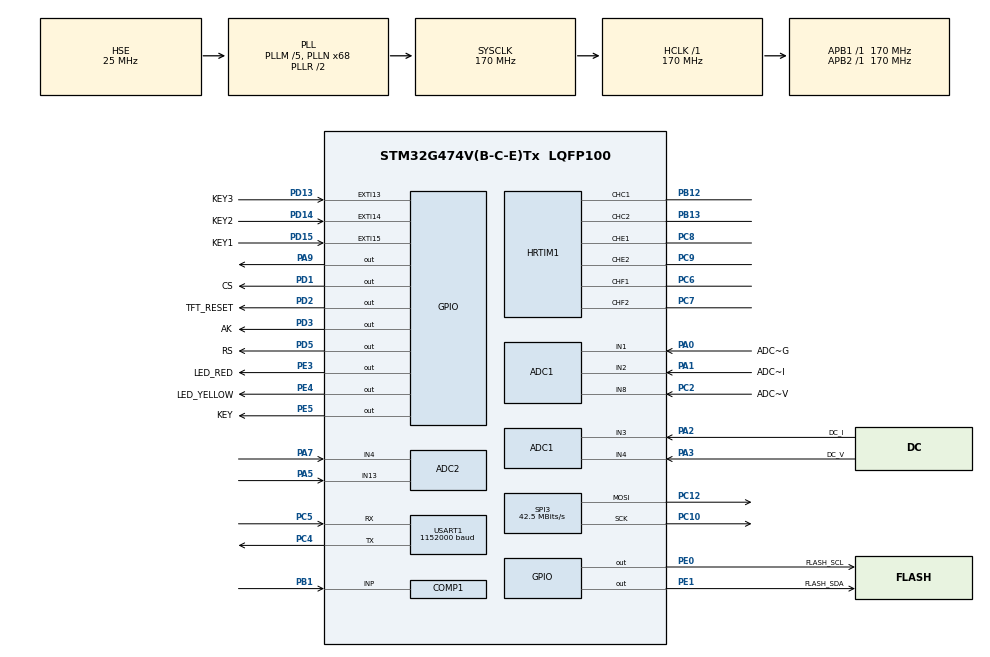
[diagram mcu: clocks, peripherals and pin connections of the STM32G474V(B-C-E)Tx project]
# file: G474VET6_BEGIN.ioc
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ADC1.Channel-0\#ChannelRegularConversion=ADC_CHANNEL_1
ADC1.Channel-1\#ChannelRegularConversion=ADC_CHANNEL_2
ADC1.Channel-2\#ChannelRegularConversion=ADC_CHANNEL_3
ADC1.Channel-3\#ChannelRegularConversion=ADC_CHANNEL_4
ADC1.Channel-4\#ChannelRegularConversion=ADC_CHANNEL_8
ADC1.ContinuousConvMode=ENABLE
ADC1.DMAContinuousRequests=ENABLE
ADC1.NbrOfConversion=5
ADC1.NbrOfConversionFlag=1
ADC1.OffsetNumber-0\#ChannelRegularConversion=ADC_OFFSET_NONE
ADC1.OffsetNumber-1\#ChannelRegularConversion=ADC_OFFSET_NONE
ADC1.OffsetNumber-2\#ChannelRegularConversion=ADC_OFFSET_NONE
ADC1.OffsetNumber-3\#ChannelRegularConversion=ADC_OFFSET_NONE
ADC1.OffsetNumber-4\#ChannelRegularConversion=ADC_OFFSET_NONE
ADC1.Overrun=ADC_OVR_DATA_OVERWRITTEN
ADC1.Rank-0\#ChannelRegularConversion=1
ADC1.Rank-1\#ChannelRegularConversion=2
ADC1.Rank-2\#ChannelRegularConversion=3
ADC1.Rank-3\#ChannelRegularConversion=4
ADC1.Rank-4\#ChannelRegularConversion=5
ADC1.SamplingTime-0\#ChannelRegularConversion=ADC_SAMPLETIME_92CYCLES_5
ADC1.SamplingTime-1\#ChannelRegularConversion=ADC_SAMPLETIME_92CYCLES_5
ADC1.SamplingTime-2\#ChannelRegularConversion=ADC_SAMPLETIME_92CYCLES_5
ADC1.SamplingTime-3\#ChannelRegularConversion=ADC_SAMPLETIME_92CYCLES_5
ADC1.SamplingTime-4\#ChannelRegularConversion=ADC_SAMPLETIME_92CYCLES_5
ADC1.master=1
ADC2.Channel-0\#ChannelRegularConversion=ADC_CHANNEL_4
ADC2.Channel-1\#ChannelRegularConversion=ADC_CHANNEL_13
ADC2.ContinuousConvMode=ENABLE
ADC2.DMAContinuousRequests=ENABLE
ADC2.NbrOfConversion=2
ADC2.NbrOfConversionFlag=1
ADC2.OffsetNumber-0\#ChannelRegularConversion=ADC_OFFSET_NONE
ADC2.OffsetNumber-1\#ChannelRegularConversion=ADC_OFFSET_NONE
ADC2.Overrun=ADC_OVR_DATA_OVERWRITTEN
ADC2.Rank-0\#ChannelRegularConversion=1
ADC2.Rank-1\#ChannelRegularConversion=2
ADC2.SamplingTime-0\#ChannelRegularConversion=ADC_SAMPLETIME_92CYCLES_5
ADC2.SamplingTime-1\#ChannelRegularConversion=ADC_SAMPLETIME_92CYCLES_5
COMP2.InvertingInput=COMP_INPUT_MINUS_VREFINT
Dma.ADC1.0.Direction=DMA_PERIPH_TO_MEMORY
Dma.ADC1.0.EventEnable=DISABLE
Dma.ADC1.0.Instance=DMA1_Channel1
Dma.ADC1.0.MemDataAlignment=DMA_MDATAALIGN_HALFWORD
Dma.ADC1.0.MemInc=DMA_MINC_ENABLE
Dma.ADC1.0.Mode=DMA_CIRCULAR
Dma.ADC1.0.PeriphDataAlignment=DMA_PDATAALIGN_HALFWORD
Dma.ADC1.0.PeriphInc=DMA_PINC_DISABLE
Dma.ADC1.0.Polarity=HAL_DMAMUX_REQ_GEN_RISING
Dma.ADC1.0.Priority=DMA_PRIORITY_LOW
Dma.ADC1.0.RequestNumber=1
Dma.ADC1.0.SignalID=NONE
Dma.ADC1.0.SyncEnable=DISABLE
Dma.ADC1.0.SyncPolarity=HAL_DMAMUX_SYNC_NO_EVENT
Dma.ADC1.0.SyncRequestNumber=1
Dma.ADC1.0.SyncSignalID=NONE
Dma.ADC2.2.Direction=DMA_PERIPH_TO_MEMORY
Dma.ADC2.2.EventEnable=DISABLE
Dma.ADC2.2.Instance=DMA1_Channel3
Dma.ADC2.2.MemDataAlignment=DMA_MDATAALIGN_HALFWORD
Dma.ADC2.2.MemInc=DMA_MINC_ENABLE
Dma.ADC2.2.Mode=DMA_CIRCULAR
Dma.ADC2.2.PeriphDataAlignment=DMA_PDATAALIGN_HALFWORD
Dma.ADC2.2.PeriphInc=DMA_PINC_DISABLE
Dma.ADC2.2.Polarity=HAL_DMAMUX_REQ_GEN_RISING
Dma.ADC2.2.Priority=DMA_PRIORITY_LOW
Dma.ADC2.2.RequestNumber=1
Dma.ADC2.2.SignalID=NONE
Dma.ADC2.2.SyncEnable=DISABLE
Dma.ADC2.2.SyncPolarity=HAL_DMAMUX_SYNC_NO_EVENT
Dma.ADC2.2.SyncRequestNumber=1
Dma.ADC2.2.SyncSignalID=NONE
Dma.CORDIC_READ.3.Direction=DMA_PERIPH_TO_MEMORY
Dma.CORDIC_READ.3.EventEnable=DISABLE
Dma.CORDIC_READ.3.Instance=DMA1_Channel4
Dma.CORDIC_READ.3.MemDataAlignment=DMA_MDATAALIGN_WORD
Dma.CORDIC_READ.3.MemInc=DMA_MINC_ENABLE
Dma.CORDIC_READ.3.Mode=DMA_CIRCULAR
Dma.CORDIC_READ.3.PeriphDataAlignment=DMA_PDATAALIGN_WORD
Dma.CORDIC_READ.3.PeriphInc=DMA_PINC_DISABLE
Dma.CORDIC_READ.3.Polarity=HAL_DMAMUX_REQ_GEN_RISING
Dma.CORDIC_READ.3.Priority=DMA_PRIORITY_LOW
Dma.CORDIC_READ.3.RequestNumber=1
Dma.CORDIC_READ.3.SignalID=NONE
Dma.CORDIC_READ.3.SyncEnable=DISABLE
Dma.CORDIC_READ.3.SyncPolarity=HAL_DMAMUX_SYNC_NO_EVENT
Dma.CORDIC_READ.3.SyncRequestNumber=1
Dma.CORDIC_READ.3.SyncSignalID=NONE
Dma.CORDIC_WRITE.4.Direction=DMA_MEMORY_TO_PERIPH
Dma.CORDIC_WRITE.4.EventEnable=DISABLE
Dma.CORDIC_WRITE.4.Instance=DMA1_Channel5
Dma.CORDIC_WRITE.4.MemDataAlignment=DMA_MDATAALIGN_WORD
Dma.CORDIC_WRITE.4.MemInc=DMA_MINC_ENABLE
Dma.CORDIC_WRITE.4.Mode=DMA_CIRCULAR
Dma.CORDIC_WRITE.4.PeriphDataAlignment=DMA_PDATAALIGN_WORD
Dma.CORDIC_WRITE.4.PeriphInc=DMA_PINC_DISABLE
Dma.CORDIC_WRITE.4.Polarity=HAL_DMAMUX_REQ_GEN_RISING
Dma.CORDIC_WRITE.4.Priority=DMA_PRIORITY_LOW
Dma.CORDIC_WRITE.4.RequestNumber=1
Dma.CORDIC_WRITE.4.SignalID=NONE
Dma.CORDIC_WRITE.4.SyncEnable=DISABLE
Dma.CORDIC_WRITE.4.SyncPolarity=HAL_DMAMUX_SYNC_NO_EVENT
Dma.CORDIC_WRITE.4.SyncRequestNumber=1
Dma.CORDIC_WRITE.4.SyncSignalID=NONE
Dma.Request0=ADC1
Dma.Request1=SPI3_TX
Dma.Request2=ADC2
Dma.Request3=CORDIC_READ
Dma.Request4=CORDIC_WRITE
Dma.SPI3_TX.1.Direction=DMA_MEMORY_TO_PERIPH
Dma.SPI3_TX.1.EventEnable=DISABLE
Dma.SPI3_TX.1.Instance=DMA1_Channel2
Dma.SPI3_TX.1.MemDataAlignment=DMA_MDATAALIGN_BYTE
Dma.SPI3_TX.1.MemInc=DMA_MINC_ENABLE
Dma.SPI3_TX.1.Mode=DMA_NORMAL
Dma.SPI3_TX.1.PeriphDataAlignment=DMA_PDATAALIGN_BYTE
Dma.SPI3_TX.1.PeriphInc=DMA_PINC_DISABLE
Dma.SPI3_TX.1.Polarity=HAL_DMAMUX_REQ_GEN_RISING
Dma.SPI3_TX.1.Priority=DMA_PRIORITY_LOW
Dma.SPI3_TX.1.RequestNumber=1
Dma.SPI3_TX.1.SignalID=NONE
Dma.SPI3_TX.1.SyncEnable=DISABLE
Dma.SPI3_TX.1.SyncPolarity=HAL_DMAMUX_SYNC_NO_EVENT
Dma.SPI3_TX.1.SyncRequestNumber=1
Dma.SPI3_TX.1.SyncSignalID=NONE
HRTIM1.CompareUnit1-Output_TC1TC2=HRTIM_COMPAREUNIT_1
HRTIM1.CompareUnit1-Output_TE1TE2=HRTIM_COMPAREUNIT_1
HRTIM1.CompareUnit1-Output_TF1TF2=HRTIM_COMPAREUNIT_1
HRTIM1.CompareValue1-Output_TC1TC2=17000
HRTIM1.CompareValue1-Output_TE1TE2=17000
HRTIM1.CompareValue1-Output_TF1TF2=17000
HRTIM1.DACSynchro-Output_TC1TC2=HRTIM_DACSYNC_NONE
HRTIM1.DeadTimeInsertion-Output_TC1TC2=HRTIM_TIMDEADTIMEINSERTION_ENABLED
HRTIM1.DeadTimeInsertion-Output_TE1TE2=HRTIM_TIMDEADTIMEINSERTION_ENABLED
HRTIM1.DeadTimeInsertion-Output_TF1TF2=HRTIM_TIMDEADTIMEINSERTION_ENABLED
HRTIM1.FallingValue-Output_TC1TC2=5
HRTIM1.FallingValue-Output_TE1TE2=5
HRTIM1.FallingValue-Output_TF1TF2=5
HRTIM1.GreaterCMP1_TC=HRTIM_TIMERGTCMP1_EQUAL
HRTIM1.NumberResetSource1-Output_TC1TC2=1
HRTIM1.NumberResetSource1-Output_TE1TE2=1
HRTIM1.NumberResetSource1-Output_TF1TF2=1
HRTIM1.NumberSetSource1-Output_TC1TC2=1
HRTIM1.NumberSetSource1-Output_TE1TE2=1
HRTIM1.NumberSetSource1-Output_TF1TF2=1
HRTIM1.Periode_TC=34000
HRTIM1.Periode_TE=34000
HRTIM1.Periode_TF=34000
HRTIM1.Polarity1-Output_TF1TF2=HRTIM_OUTPUTPOLARITY_LOW
HRTIM1.Polarity2-Output_TF1TF2=HRTIM_OUTPUTPOLARITY_LOW
HRTIM1.PreloadEnable-Output_TC1TC2=HRTIM_PRELOAD_ENABLED
HRTIM1.PreloadEnable-Output_TE1TE2=HRTIM_PRELOAD_ENABLED
HRTIM1.PreloadEnable-Output_TF1TF2=HRTIM_PRELOAD_ENABLED
HRTIM1.PrescalerRatio_TC=HRTIM_PRESCALERRATIO_MUL2
HRTIM1.PrescalerRatio_TE=HRTIM_PRESCALERRATIO_MUL4
HRTIM1.PrescalerRatio_TF=HRTIM_PRESCALERRATIO_MUL4
HRTIM1.RepetitionUpdate-Output_TC1TC2=HRTIM_UPDATEONREPETITION_ENABLED
HRTIM1.RepetitionUpdate-Output_TE1TE2=HRTIM_UPDATEONREPETITION_ENABLED
HRTIM1.RepetitionUpdate-Output_TF1TF2=HRTIM_UPDATEONREPETITION_ENABLED
HRTIM1.ResetOutput1_Source1-Output_TC1TC2=HRTIM_OUTPUTRESET_TIMCMP1
HRTIM1.ResetOutput1_Source1-Output_TE1TE2=HRTIM_OUTPUTRESET_TIMCMP1
HRTIM1.ResetOutput1_Source1-Output_TF1TF2=HRTIM_OUTPUTRESET_TIMCMP1
HRTIM1.RisingValue-Output_TC1TC2=50
HRTIM1.RisingValue-Output_TE1TE2=50
HRTIM1.RisingValue-Output_TF1TF2=50
HRTIM1.SetOutput1_Source1-Output_TC1TC2=HRTIM_OUTPUTSET_TIMPER
HRTIM1.SetOutput1_Source1-Output_TE1TE2=HRTIM_OUTPUTSET_TIMPER
HRTIM1.SetOutput1_Source1-Output_TF1TF2=HRTIM_OUTPUTSET_TIMPER
Mcu.Family=STM32G4
Mcu.Name=STM32G474V(B-C-E)Tx
Mcu.Package=LQFP100
NVIC.DMA1_Channel1_IRQn=true\:0\:0\:false\:false\:true\:false\:true\:true
NVIC.DMA1_Channel2_IRQn=true\:2\:0\:true\:false\:true\:false\:true\:true
NVIC.DMA1_Channel3_IRQn=true\:0\:0\:false\:false\:true\:false\:true\:true
NVIC.DMA1_Channel4_IRQn=true\:0\:0\:false\:false\:true\:false\:true\:true
NVIC.DMA1_Channel5_IRQn=true\:0\:0\:false\:false\:true\:false\:true\:true
NVIC.EXTI15_10_IRQn=true\:2\:0\:true\:false\:true\:true\:true\:true
NVIC.PriorityGroup=NVIC_PRIORITYGROUP_2
NVIC.SPI3_IRQn=true\:2\:1\:true\:false\:true\:true\:true\:true
NVIC.TIM6_DAC_IRQn=true\:0\:1\:true\:false\:true\:true\:true\:true
NVIC.TIM7_DAC_IRQn=true\:1\:0\:true\:false\:true\:true\:true\:true
PA0.GPIO_Label=ADC~G
PA0.Mode=IN1-Single-Ended
PA0.Signal=ADC1_IN1
PA1.GPIO_Label=ADC~I
PA1.Mode=IN2-Single-Ended
PA1.Signal=ADC1_IN2
PA13.Mode=Serial_Wire
PA13.Signal=SYS_JTMS-SWDIO
PA14.Mode=Serial_Wire
PA14.Signal=SYS_JTCK-SWCLK
PA2.GPIO_Label=DC_I
PA2.Mode=IN3-Single-Ended
PA2.Signal=ADC1_IN3
PA3.GPIO_Label=DC_V
PA3.Mode=IN4-Single-Ended
PA3.Signal=ADC1_IN4
PA5.Signal=SharedAnalog_PA5
PA7.Signal=SharedAnalog_PA7
PA9.Signal=GPIO_Output
PB1.Mode=INP
PB1.Signal=COMP1_INP
PB12.Mode=Output_TC1TC2
PB12.Signal=HRTIM1_CHC1
PB13.Mode=Output_TC1TC2
PB13.Signal=HRTIM1_CHC2
PC10.GPIO_Speed=GPIO_SPEED_FREQ_VERY_HIGH
PC10.Mode=TX_Only_Simplex_Unidirect_Master
PC10.Signal=SPI3_SCK
PC12.GPIO_Speed=GPIO_SPEED_FREQ_VERY_HIGH
PC12.Mode=TX_Only_Simplex_Unidirect_Master
PC12.Signal=SPI3_MOSI
PC2.GPIO_Label=ADC~V
PC2.Mode=IN8-Single-Ended
PC2.Signal=ADC1_IN8
PC4.Mode=Asynchronous
PC4.Signal=USART1_TX
PC5.Mode=Asynchronous
PC5.Signal=USART1_RX
PC6.Mode=Output_TF1TF2
PC6.Signal=HRTIM1_CHF1
PC7.Mode=Output_TF1TF2
PC7.Signal=HRTIM1_CHF2
PC8.Mode=Output_TE1TE2
PC8.Signal=HRTIM1_CHE1
PC9.Mode=Output_TE1TE2
PC9.Signal=HRTIM1_CHE2
PD1.GPIO_Label=CS
PD1.GPIO_Speed=GPIO_SPEED_FREQ_VERY_HIGH
PD1.Signal=GPIO_Output
PD13.GPIO_Label=KEY3
PD13.GPIO_ModeDefaultEXTI=GPIO_MODE_IT_FALLING
PD13.GPIO_PuPd=GPIO_NOPULL
PD13.Signal=GPXTI13
PD14.GPIO_Label=KEY2
PD14.GPIO_ModeDefaultEXTI=GPIO_MODE_IT_FALLING
PD14.GPIO_PuPd=GPIO_NOPULL
PD14.Signal=GPXTI14
PD15.GPIO_Label=KEY1
PD15.GPIO_ModeDefaultEXTI=GPIO_MODE_IT_FALLING
PD15.GPIO_PuPd=GPIO_NOPULL
PD15.Signal=GPXTI15
PD2.GPIO_Label=TFT_RESET
PD2.GPIO_Speed=GPIO_SPEED_FREQ_VERY_HIGH
PD2.Signal=GPIO_Output
PD3.GPIO_Label=AK
PD3.GPIO_Speed=GPIO_SPEED_FREQ_VERY_HIGH
PD3.Signal=GPIO_Output
PD5.GPIO_Label=RS
PD5.GPIO_Speed=GPIO_SPEED_FREQ_VERY_HIGH
PD5.Signal=GPIO_Output
PE0.GPIO_Label=FLASH_SCL
PE0.GPIO_ModeDefaultOutputPP=GPIO_MODE_OUTPUT_OD
PE0.GPIO_PuPd=GPIO_PULLUP
PE0.GPIO_Speed=GPIO_SPEED_FREQ_HIGH
PE0.PinState=GPIO_PIN_SET
PE0.Signal=GPIO_Output
PE1.GPIO_Label=FLASH_SDA
PE1.GPIO_ModeDefaultOutputPP=GPIO_MODE_OUTPUT_OD
PE1.GPIO_PuPd=GPIO_PULLUP
PE1.GPIO_Speed=GPIO_SPEED_FREQ_HIGH
PE1.PinState=GPIO_PIN_SET
PE1.Signal=GPIO_Output
PE3.GPIO_Label=LED_RED
PE3.PinState=GPIO_PIN_SET
PE3.Signal=GPIO_Output
PE4.GPIO_Label=LED_YELLOW
PE4.PinState=GPIO_PIN_SET
PE4.Signal=GPIO_Output
PE5.GPIO_Label=KEY
PE5.PinState=GPIO_PIN_RESET
PE5.Signal=GPIO_Output
PF0-OSC_IN.Mode=HSE-External-Oscillator
PF0-OSC_IN.Signal=RCC_OSC_IN
PF1-OSC_OUT.Mode=HSE-External-Oscillator
PF1-OSC_OUT.Signal=RCC_OSC_OUT
ProjectManager.HeapSize=0x200
ProjectManager.StackSize=0x400
ProjectManager.TargetToolchain=MDK-ARM V5
RCC.ADC12Freq_Value=170000000
RCC.ADC345Freq_Value=170000000
RCC.AHBFreq_Value=170000000
RCC.APB1Freq_Value=170000000
RCC.APB1TimFreq_Value=170000000
RCC.APB2Freq_Value=170000000
RCC.APB2TimFreq_Value=170000000
RCC.CortexFreq_Value=170000000
RCC.EXTERNAL_CLOCK_VALUE=12288000
RCC.HCLKFreq_Value=170000000
RCC.HSE_VALUE=25000000
RCC.HSI48_VALUE=48000000
RCC.HSI_VALUE=16000000
RCC.LSE_VALUE=32768
RCC.PLLM=RCC_PLLM_DIV5
RCC.PLLN=68
RCC.PLLSourceVirtual=RCC_PLLSOURCE_HSE
RCC.SYSCLKFreq_VALUE=170000000
RCC.SYSCLKSource=RCC_SYSCLKSOURCE_PLLCLK
RCC.USBFreq_Value=170000000
RCC.VCOOutputFreq_Value=340000000
SH.SharedAnalog_PA5.0=ADC2_IN13,IN13-Single-Ended
SH.SharedAnalog_PA5.1=COMP2_INM
SH.SharedAnalog_PA7.0=ADC2_IN4,IN4-Single-Ended
SH.SharedAnalog_PA7.1=COMP2_INP,INP
SPI3.BaudRatePrescaler=SPI_BAUDRATEPRESCALER_4
SPI3.CalculateBaudRate=42.5 MBits/s
SPI3.DataSize=SPI_DATASIZE_8BIT
SPI3.Direction=SPI_DIRECTION_2LINES
SPI3.FirstBit=SPI_FIRSTBIT_MSB
SPI3.Mode=SPI_MODE_MASTER
SPI3.VirtualType=VM_MASTER
STMicroelectronics.X-CUBE-ALGOBUILD.1.4.0.LibraryCcDSPOoLibraryJjDSPOoLibrary=true
TIM6.AutoReloadPreload=TIM_AUTORELOAD_PRELOAD_ENABLE
TIM6.PeriodNoDither=199
TIM6.Prescaler=169
TIM7.AutoReloadPreload=TIM_AUTORELOAD_PRELOAD_ENABLE
TIM7.PeriodNoDither=99
TIM7.Prescaler=169
USART1.BaudRate=1152000
USART1.VirtualMode-Asynchronous=VM_ASYNC
VP_COMP1_VS_VREFINT.Mode=VREFINT
VP_COMP2_VS_VREFINT.Mode=VREFINT
VP_CORDIC_VS_CORDIC.Mode=CORDIC_Activate
VP_STMicroelectronics.X-CUBE-ALGOBUILD_VS_DSPOoLibraryJjLibrary_1.4.0_1.4.0.Mode=DSPOoLibraryJjLibrary
VP_SYS_VS_DBSignals.Mode=DisableDeadBatterySignals
VP_TIM6_VS_ClockSourceINT.Mode=Enable_Timer
VP_TIM7_VS_ClockSourceINT.Mode=Enable_Timer
board=custom

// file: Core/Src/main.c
/* USER CODE BEGIN Header */
/**
  ******************************************************************************
  * @file           : main.c
  * @brief          : Main program body
	* @version				: 1.2
  ******************************************************************************
  * @attention
  *
  * Copyright (c) 2025 STMicroelectronics.
  * All rights reserved.
  *
  * This software is licensed under terms that can be found in the LICENSE file
  * in the root directory of this software component.
  * If no LICENSE file comes with this software, it is provided AS-IS.
  *
  ******************************************************************************
  */
/* USER CODE END Header */
#include "main.h"
#include "adc.h"
#include "comp.h"
#include "cordic.h"
#include "dma.h"
#include "hrtim.h"
#include "spi.h"
#include "tim.h"
#include "usart.h"
#include "gpio.h"

/* USER CODE BEGIN Includes */
#include "LCD.h"
#include "UART.h"
#include "Mymain.h"
#include "lvgl.h"
#include "lv_port_disp.h"
#include "lv_port_indev.h"

#include "gui_guider.h"
#include "events_init.h"

/* USER CODE END Includes */

/* USER CODE BEGIN PTD */
int8_t button_pressed_id = -1; // 记录被按下的按键ID

lv_ui guider_ui;

/* USER CODE END PTD */

/* USER CODE BEGIN PV */
uint16_t AD_Buf[5];
uint16_t AD_Mppt[2];

//Program_State_Flag Program={Mode_PV_Grid,State_Standby,Flag_Run_};
uint16_t AD_Buf[5];
uint16_t AD_Mppt[2];

//Program_State_Flag Program={Mode_PV_Grid,State_Standby,Flag_Run_};
Program_State_Flag Program={Mode_PV_Grid,State_Standby,Flag_Standby};

pid_typedef pid_dc_V;
pid_typedef pid_value_V;
pid_typedef pid_value_I;
pid_typedef pid_theta_V;
pid_typedef pid_theta_I;
pid_typedef pid_theta_G;

pid_Mppt Mppt_W;
pid_typedef mppt_dc_W;
pid_typedef mppt_ac_W;

Get_value getVout;
Get_value getIout;
Get_value getGrid;

int16_t in_V,in_I;
uint16_t dc_V,dc_I;
int16_t ac_V,ac_I,Grid;
//[3]-dc_v   [2]-dc_i
//[4]-ac_v   [1]-ac_i   [0]-grid

int16_t vout_ad,	iout_ad,	grid_ad;
int16_t	vout_av,	iout_av,	grid_av;//交流采样

uint16_t 	count_minor=0;
uint8_t 	count_key=0;

float debug =0,debug1=0,debug2=0,debug3=0;

float show_dcV=0.00f,show_dcI=0.00f,show_acV=0.00f,show_acI=0.00f;
float show_rat=0.00f,show_dcW=0.00f,show_acQ=0.82f,show_THD=0.03f;

//ARR=34 000
uint32_t ccr_DC=0;
uint32_t ccr_AC=17000;

/* USER CODE END PV */

void SystemClock_Config(void);

int main(void)
{

  /* MCU Configuration--------------------------------------------------------*/

  /* Reset of all peripherals, Initializes the Flash interface and the Systick. */
  HAL_Init();

  /* Configure the system clock */
  SystemClock_Config();

  /* Initialize all configured peripherals */
  MX_GPIO_Init();
  MX_DMA_Init();
  MX_ADC1_Init();
  MX_HRTIM1_Init();
  MX_USART1_UART_Init();
  MX_TIM7_Init();
  MX_TIM6_Init();
  MX_SPI3_Init();
  MX_CORDIC_Init();
  MX_ADC2_Init();
  MX_COMP1_Init();
  MX_COMP2_Init();
  /* USER CODE BEGIN 2 */
	/*------------------------------------------EEROM------------------------------------------------*/
	/*------------------------------------------HRTIM-------------------------------------------------*/
	HAL_HRTIM_WaveformCounterStart(&hhrtim1, HRTIM_TIMERID_TIMER_C|HRTIM_TIMERID_TIMER_E|HRTIM_TIMERID_TIMER_F); //同时启动TIMER_A，TIMER_B的计数器
	HAL_HRTIM_WaveformOutputStart(&hhrtim1, HRTIM_OUTPUT_TC1|HRTIM_OUTPUT_TC2); //使能TIMER_C的波形输出-DC
	HAL_HRTIM_WaveformOutputStart(&hhrtim1, HRTIM_OUTPUT_TE1|HRTIM_OUTPUT_TE2); //使能TIMER_E的波形输出-AC
	HAL_HRTIM_WaveformOutputStart(&hhrtim1, HRTIM_OUTPUT_TF1|HRTIM_OUTPUT_TF2); //使能TIMER_F的波形输出-AC

	HAL_TIM_Base_Start_IT(&htim6); // 启动TIM6中断
	HAL_TIM_Base_Start_IT(&htim7); // 启动TIM7中断

	/*------------------------------------------ADC---------------------------------------------------*/
	HAL_ADCEx_Calibration_Start(&hadc1,ADC_SINGLE_ENDED);		//ADC1校准
	HAL_ADC_Start_DMA(&hadc1,(uint32_t*)AD_Buf,5);				//开启ADC的DMA模式
//	HAL_ADCEx_Calibration_Start(&hadc3,ADC_SINGLE_ENDED);		//ADC2校准
//	HAL_ADC_Start_DMA(&hadc3,(uint32_t*)AD_Mppt,2);				//开启ADC的DMA模式

//	HAL_GPIO_WritePin(GPIOE,KEY_Pin,GPIO_PIN_SET);//继电器开

	/*------------------------------------------Program--------------------------------------------------*/

	Init_PID_Inc(&pid_theta_G,10000 , 5.5f	,1.3f	,9.9f	, 0 , 6.2831853f	, -6.2831853f	);

	//空载电压
	Init_PID_Pos(&pid_dc_V	 ,10	, 7777	,11.0f	,12345	, 48.0f*4095/70.35f	, 23800 , 0 	);//1/(1-29143/34000)=7>52/10=5.2
//	Init_PID_Pos(&pid_dc_V	 ,10	, 0		,0		,0		, 48.0f*4095/70.35f	, 23800 , 0 	);//1/(1-29143/34000)=7>52/10=5.2
	Init_PID_Pos(&pid_value_V,10	, 222 	,21		,333	, 24.7f*4095/75.8f	, 15300	, 0		);
	Init_PID_Inc(&pid_theta_V,100	, 4		,5		,13		, 0	, 200	, -200	);

	//并网初始电流
	Init_PID_Pos(&pid_value_I,100	, 5		,1.3f	,2		, 0.3f*4095/19.65f	, 10000	, -4000	);
	Init_PID_Inc(&pid_theta_I,10000 , 9		,2.1f	,5		, 0	, 6.2831853f	, -6.2831853f	);

	//并网后Mppt
	Init_PID_Mppt_DAC(&Mppt_W,10, 1700 , 1.2f , 1.3f ,25*4095/70.35f,44*4095/70.35f);

	SOGI_PLL_Init(&sogi_Vout,0.0001f);
	SOGI_PLL_Init(&sogi_Iout,0.0001f);
	SOGI_PLL_Init(&sogi_Grid,0.0001f);

	/*------------------------------------------LCD---------------------------------------------------*/
	LCD_Init();

//	LCD_Clear(WHITE);

	/*------------------------------------------menu-------------------------------------------------*/
	Menu_Init();
lv_init();
lv_port_disp_init();
lv_port_indev_init();

//	lv_obj_t * btn_led2_obj = lv_btn_create(lv_scr_act());
//	lv_obj_set_size(btn_led2_obj,160,30);
//	lv_obj_align(btn_led2_obj,LV_ALIGN_CENTER,0,0);
//	lv_obj_t * label_obj = lv_label_create(btn_led2_obj);
//	lv_label_set_text(label_obj,"Turn ON LED2");
//	lv_obj_center(label_obj);
//				uint8_t id = lv_tabview_get_tab_act(guider_ui.screen_tabview_1);
//				lv_tabview_set_act(guider_ui.screen_tabview_1,id-1,LV_ANIM_OFF);

setup_ui(&guider_ui);
events_init(&guider_ui);

  /* USER CODE END 2 */

  /* Infinite loop */
  /* USER CODE BEGIN WHILE */
  while (1)
  {
//	count_minor++;
	/*------------------------------------------menu---------------------------------------------------*/
	HAL_Delay(5);
	lv_timer_handler();
	lv_label_set_text_fmt(guider_ui.screen_label_5 , "%.2f",show_dcV);//直流电压
	lv_label_set_text_fmt(guider_ui.screen_label_6 , "%.2f",show_dcI);//直流电流
	lv_label_set_text_fmt(guider_ui.screen_label_7 , "%.2f",show_acV);//交流电压
	lv_label_set_text_fmt(guider_ui.screen_label_8 , "%.2f",show_acI);//交流电流
	lv_label_set_text_fmt(guider_ui.screen_label_16, "%.2f",show_rat);//效率
	lv_label_set_text_fmt(guider_ui.screen_label_15, "%.2f",show_dcW);//功率
	lv_label_set_text_fmt(guider_ui.screen_label_14, "%.2f",show_acQ);//功率因素
	lv_label_set_text_fmt(guider_ui.screen_label_13, "%.2f",show_THD);//THD

//		if(Program.State!=State_Err_)Menu_Refresh();

	/*------------------------------------------UART---------------------------------------------------*/

//		Vofa_JustFloat_multiple( 8
//
////			,value_i
////			,theta_i
//			,(float)ccr_DC
//			,(float)ccr_AC
//
////			,pid_value_I.out

////			,(float)in_V
////			,(float)in_I
////			,(float)AD_Mppt[0]
////			,(float)AD_Mppt[1]
//
//			,(float)Grid//电网电压
//			,(float)ac_I//并网电流
//			,(float)ac_V//交流电压
////			,debug
////			,(float)AD_Buf[0]
////			,(float)AD_Buf[1]
////			,(float)AD_Buf[4]
//
////			,(float)dc_I//直流电流
//			,(float)dc_V//直流电压
//			,debug3
////			,(float)AD_Buf[2]
////			,(float)AD_Buf[3]
////			,pid_dc_V.err
//
////			,Mppt_W.Mppt_out
////			,Mppt_W.d_V
////			,Mppt_W.d_I
////			,Mppt_W.Key_trend
////			,mppt_dc_W.out
////			,mppt_ac_W.out
//
//			,i_D
//			,i_Q
////			,value
////			,v_D
////			,v_Q
////			,pid_value_V.err
////			,pid_theta_V.err
////			,value
////			,debug
////			,g_D
////			,g_Q
//		);

  }
    /* USER CODE END WHILE */

}

void SystemClock_Config(void)
{
  RCC_OscInitTypeDef RCC_OscInitStruct = {0};
  RCC_ClkInitTypeDef RCC_ClkInitStruct = {0};

  /** Configure the main internal regulator output voltage
  */
  HAL_PWREx_ControlVoltageScaling(PWR_REGULATOR_VOLTAGE_SCALE1_BOOST);

  /** Initializes the RCC Oscillators according to the specified parameters
  * in the RCC_OscInitTypeDef structure.
  */
  RCC_OscInitStruct.OscillatorType = RCC_OSCILLATORTYPE_HSE;
  RCC_OscInitStruct.HSEState = RCC_HSE_ON;
  RCC_OscInitStruct.PLL.PLLState = RCC_PLL_ON;
  RCC_OscInitStruct.PLL.PLLSource = RCC_PLLSOURCE_HSE;
  RCC_OscInitStruct.PLL.PLLM = RCC_PLLM_DIV5;
  RCC_OscInitStruct.PLL.PLLN = 68;
  RCC_OscInitStruct.PLL.PLLP = RCC_PLLP_DIV2;
  RCC_OscInitStruct.PLL.PLLQ = RCC_PLLQ_DIV2;
  RCC_OscInitStruct.PLL.PLLR = RCC_PLLR_DIV2;
  if (HAL_RCC_OscConfig(&RCC_OscInitStruct) != HAL_OK)
  {
    Error_Handler();
  }

  /** Initializes the CPU, AHB and APB buses clocks
  */
  RCC_ClkInitStruct.ClockType = RCC_CLOCKTYPE_HCLK|RCC_CLOCKTYPE_SYSCLK
                              |RCC_CLOCKTYPE_PCLK1|RCC_CLOCKTYPE_PCLK2;
  RCC_ClkInitStruct.SYSCLKSource = RCC_SYSCLKSOURCE_PLLCLK;
  RCC_ClkInitStruct.AHBCLKDivider = RCC_SYSCLK_DIV1;
  RCC_ClkInitStruct.APB1CLKDivider = RCC_HCLK_DIV1;
  RCC_ClkInitStruct.APB2CLKDivider = RCC_HCLK_DIV1;

  if (HAL_RCC_ClockConfig(&RCC_ClkInitStruct, FLASH_LATENCY_4) != HAL_OK)
  {
    Error_Handler();
  }
}

/* USER CODE BEGIN 4 */
/*------------------------------------------回调函数---------------------------------------------------*/

/******************************按键检测*************************/
void HAL_GPIO_EXTI_Callback(uint16_t GPIO_Pin)
{					/* 按键处理 */
//	Menu_KeyProcess(GPIO_Pin);

}

/******************************中断tim7*************************/
/* USER CODE BEGIN 1 */

void HAL_TIM_PeriodElapsedCallback(TIM_HandleTypeDef *htim)
{
    if (htim == &htim7)//10 000Hz
	{
		//采样信号处理
			//转运采样数据
//			in_V=AD_Mppt[0];//电压橘红
//			in_I=AD_Mppt[1];//电流蓝黄
			Grid=AD_Buf[0];//电网电压
			ac_I=AD_Buf[1];//并网电流
			dc_I=AD_Buf[2];//直流电流
			dc_V=AD_Buf[3];//直流电压
			ac_V=AD_Buf[4];//交流电压

			//直流信号滤波
			Slid_Mppt_Filter(AD_Mppt[0],AD_Mppt[1], &in_V, &in_I );
			Slid_Mean_Filter( &dc_V, &dc_I );

			/*****************数据显示*****************/
			show_dcV=(float)(dc_V/058.2f);
			show_dcI=(float)(dc_I/930.7f);
			show_dcW=(float)(show_dcV*show_dcI);

			//消除直流偏置
//			Get_av(&getVout,AD_Buf[4],&ac_V);//交流电压
//			Get_av(&getIout,AD_Buf[1],&ac_I);//并网电流
//			Get_av(&getGrid,AD_Buf[0],&Grid);//电网电压
			Get_compute(&getVout,AD_Buf[4],&ac_V);//交流电压
			Get_compute(&getIout,AD_Buf[1],&ac_I);//并网电流
			Get_compute(&getGrid,AD_Buf[0],&Grid);//电网电压

			if(count_key>=200) count_key-=200,count_minor++;

		switch (Program.Mode)
			{
			case Mode_PV_Grid :			PV_Grid(&count_key,&ccr_DC,&ccr_AC);
		break;
			case Mode_PV_Grid_Storage :	PV_Grid_Storage(&count_key,&ccr_DC,&ccr_AC);
		break;
			case Mode_PV_DC_Storage :	PV_DC_Storage(&count_key,&ccr_DC,&ccr_AC);
		break;
			case Mode_PV_AC_Storage :	PV_AC_Storage(&count_key,&ccr_DC,&ccr_AC);
		break;
			case Mode_PV_AC_V :	PV_AC_V(&count_key,&ccr_DC,&ccr_AC);
		break;
			case Mode_PV_AC_I :	PV_AC_I(&count_key,&ccr_DC,&ccr_AC);
		break;
			case Mode_PV_DC_V :	PV_DC_V(&count_key,&ccr_DC,&ccr_AC);
		break;
			case Mode_PV_DC_I :	PV_DC_I(&count_key,&ccr_DC,&ccr_AC);
		break;
			}

		__HAL_HRTIM_SETCOMPARE(&hhrtim1, HRTIM_TIMERINDEX_TIMER_C, HRTIM_COMPAREUNIT_1, ccr_DC);
		__HAL_HRTIM_SETCOMPARE(&hhrtim1, HRTIM_TIMERINDEX_TIMER_E, HRTIM_COMPAREUNIT_1, ccr_AC);
		__HAL_HRTIM_SETCOMPARE(&hhrtim1, HRTIM_TIMERINDEX_TIMER_F, HRTIM_COMPAREUNIT_1, ccr_AC);

    }
	   if (htim == &htim6)//5 000Hz
	   {

			ERROR_Testing(ccr_DC, ccr_AC, dc_V, dc_I, 0 , 0 , 0 , 0 );
			lv_tick_inc(1);//一毫秒计数
	   }

}
/* USER CODE END 1 */

/* USER CODE END 4 */

void Error_Handler(void)
{
  __disable_irq();
  while (1)
  {
  }
}
